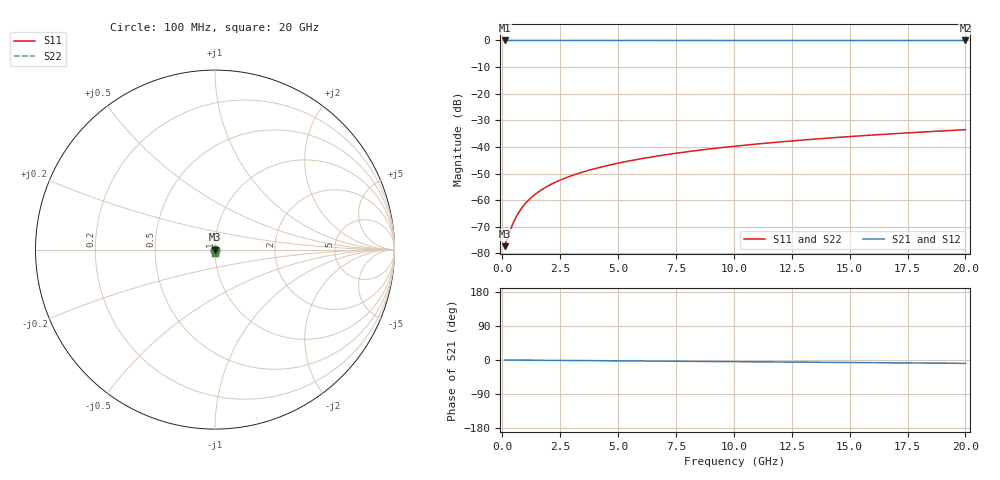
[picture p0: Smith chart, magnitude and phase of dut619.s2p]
! Touchstone file exported from HFSS 2026.1.0
!  File:  C:/ffzhzh/LocalFiles/Ansys_Project_Files/temp_train_TSV_619_1783025864_51716.aedt
!  Generated:  04:59:58 AM Jul  3, 2026
!  Design:  TSV
!  Project:  temp_train_TSV_619_1783025864_51716
! Variables:
!  h_bsmrdl = 2um
!  h_ox = 20um
!  h_rdl = 5um
!  h_sub = 91.06um
!  h_tmrdl = 5um
!  h_tsv = 91.06um
!  h_via = 3um
!  l_bsmrdl = 300um
!  l_sub = 422.04um
!  l_tmrdl = 200um
!  m_sub = 200um
!  pitch = 38.9um
!  r_tsv = 11.02um
!  s_tmrdl = 10um
!  w_bsmrdl = 18um
!  w_sub = 500um
!  w_tmrdl = 12um
!  x_tsv_center1 = 206um
!  x_tsv_center2 = 524um
!  x_tsv_center3 = 736um
!  x_tsv_center4 = 1054um
!  x_tsv_center5 = 1266um
!  x_tsv_center6 = 1584um
# GHz S MA R 50.000000
! Terminal data exported
! Port[1] = TSV1_1_T1
! Port[2] = TSV1_1_T2
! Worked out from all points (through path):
!   200 points, 100 MHz to 20 GHz, reference 50 ohm
!   highest |S21| = 0.00 dB at 100 MHz (marker M1); lowest = 0.0 dB at 20 GHz (marker M2)
!   group delay of S21, straight-line fit = 1.22 ps
!   lowest |S11| = -77.3 dB at 100 MHz (marker M3), VSWR 1.00, Z = 50 - j0.00555 ohm
!   |S11| at or under -10 dB: start of sweep to end of sweep
!   |S22| runs from -77.3 to -33.5 dB; largest |S21 - S12| = 4.5e-15
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0.1  0.0001367 -23.9  0.9999 -0.0  0.9999 -0.0  0.0001367 -23.9
! Gamma 0 0 0 0
! Port Impedance 50 0 50 0
0.3  0.0002417 -48.1  0.9998 -0.1  0.9998 -0.1  0.0002417 -48.1
0.4  0.0003146 -53.5  0.9998 -0.2  0.9998 -0.2  0.0003146 -53.5
0.5  0.000396 -57.2  0.9998 -0.2  0.9998 -0.2  0.0003961 -57.2
0.6  0.0004838 -60.1  0.9998 -0.3  0.9998 -0.3  0.0004838 -60.1
0.7  0.000576 -62.4  0.9997 -0.3  0.9997 -0.3  0.000576 -62.4
0.9  0.0007685 -66.2  0.9997 -0.4  0.9997 -0.4  0.0007685 -66.2
1.2  0.001067 -70.4  0.9996 -0.5  0.9996 -0.5  0.001067 -70.4
1.4  0.001268 -72.5  0.9996 -0.6  0.9996 -0.6  0.001268 -72.5
1.6  0.00147 -74.2  0.9996 -0.7  0.9996 -0.7  0.00147 -74.2
2.1  0.001975 -77.3  0.9995 -0.9  0.9995 -0.9  0.001975 -77.3
2.7  0.002583 -79.6  0.9995 -1.2  0.9995 -1.2  0.002583 -79.6
3.5  0.0034 -81.7  0.9994 -1.6  0.9994 -1.6  0.0034 -81.7
4.2  0.004122 -83.0  0.9994 -1.9  0.9994 -1.9  0.004122 -83.0
5  0.004956 -84.1  0.9993 -2.2  0.9993 -2.2  0.004956 -84.1
5.9  0.005902 -85.2  0.9992 -2.6  0.9992 -2.6  0.005902 -85.2
6.8  0.006855 -86.2  0.9992 -3.0  0.9992 -3.0  0.006855 -86.2
8.3  0.008454 -87.5  0.9991 -3.7  0.9991 -3.7  0.008454 -87.5
10.1  0.01038 -89.0  0.9989 -4.5  0.9989 -4.5  0.01038 -89.0
13.4  0.01393 -91.2  0.9988 -5.9  0.9988 -5.9  0.01393 -91.2
16.7  0.01749 -93.2  0.9986 -7.4  0.9986 -7.4  0.01749 -93.2
20  0.02107 -95.0  0.9984 -8.8  0.9984 -8.8  0.02107 -95.0
